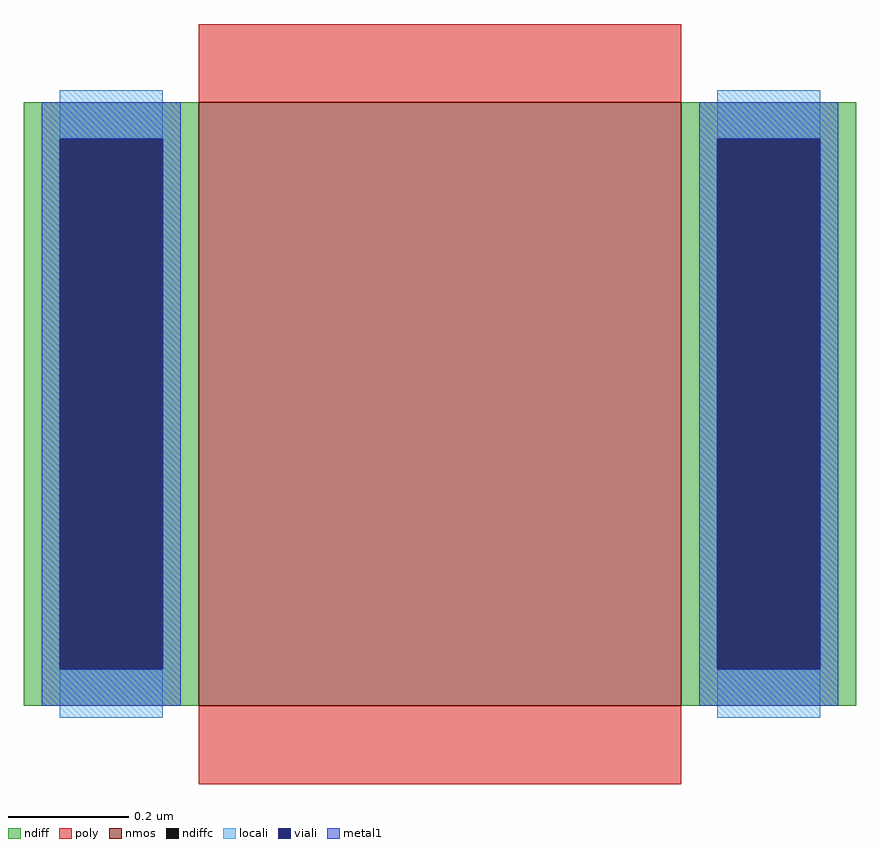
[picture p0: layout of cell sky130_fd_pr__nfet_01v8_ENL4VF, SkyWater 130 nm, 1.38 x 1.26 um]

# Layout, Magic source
magic
tech sky130A
<< nmos >>
rect -40 -50 40 50
<< ndiff >>
rect -69 44 -40 50
rect -69 -44 -63 44
rect -46 -44 -40 44
rect -69 -50 -40 -44
rect 40 44 69 50
rect 40 -44 46 44
rect 63 -44 69 44
rect 40 -50 69 -44
<< ndiffc >>
rect -63 -44 -46 44
rect 46 -44 63 44
<< poly >>
rect -40 50 40 63
rect -40 -63 40 -50
<< locali >>
rect -63 44 -46 52
rect -63 -52 -46 -44
rect 46 44 63 52
rect 46 -52 63 -44
<< viali >>
rect -63 -44 -46 44
rect 46 -44 63 44
<< metal1 >>
rect -66 44 -43 50
rect -66 -44 -63 44
rect -46 -44 -43 44
rect -66 -50 -43 -44
rect 43 44 66 50
rect 43 -44 46 44
rect 63 -44 66 44
rect 43 -50 66 -44
<< properties >>
string gencell sky130_fd_pr__nfet_01v8
string library sky130
string parameters w 1 l 0.8 m 1 nf 1 diffcov 100 polycov 100 guard 0 glc 1 grc 1 gtc 1 gbc 1 tbcov 100 rlcov 100 topc 0 botc 0 poverlap 0 doverlap 1 lmin 0.15 wmin 0.42 compatible {sky130_fd_pr__nfet_01v8 sky130_fd_pr__nfet_01v8_lvt  sky130_fd_bs_flash__special_sonosfet_star  sky130_fd_pr__nfet_g5v0d10v5 sky130_fd_pr__nfet_05v0_nvt  sky130_fd_pr__nfet_03v3_nvt} full_metal 1 viasrc 100 viadrn 100 viagate 70 viagb 0 viagr 0 viagl 0 viagt 0
<< end >>
